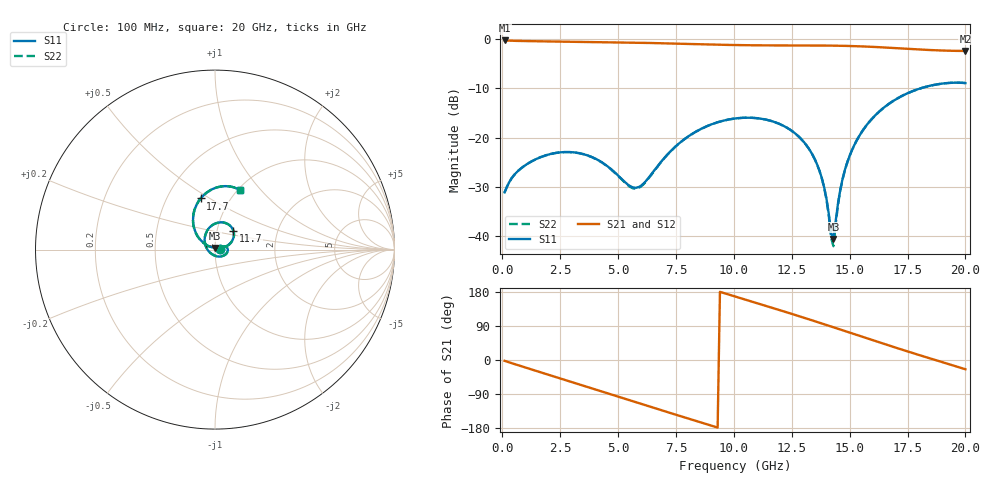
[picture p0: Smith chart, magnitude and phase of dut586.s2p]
! Touchstone file exported from HFSS 2026.1.0
!  File:  C:/ffzhzh/LocalFiles/Ansys_Project_Files/temp_train_TSV_RDL_586_1783119629_37876.aedt
!  Generated:  07:12:40 AM Jul  4, 2026
!  Design:  TSV_RDL
!  Project:  temp_train_TSV_RDL_586_1783119629_37876
! Variables:
!  h_bsmrdl = 3.4um
!  h_ox = 20um
!  h_rdl = 5um
!  h_sub = 98.86um
!  h_tmrdl = 4.84um
!  h_tsv = 98.86um
!  h_via = 3um
!  l_bsmrdl = 542.22um
!  l_sub = 5919.03um
!  l_tmrdl = 944.06um
!  m_sub = 200um
!  pitch = 25.31um
!  r_tsv = 9.15um
!  s_tmrdl = 10um
!  w_bsmrdl = 23.54um
!  w_sub = 500um
!  w_tmrdl = 15.17um
!  x_tsv_center1 = 951.645um
!  x_tsv_center2 = 1517.405um
!  x_tsv_center3 = 2476.635um
!  x_tsv_center4 = 3042.395um
!  x_tsv_center5 = 4001.625um
!  x_tsv_center6 = 4567.385um
# GHz S MA R 50.000000
! Terminal data exported
! Port[1] = TM_RDL1_1_T1
! Port[2] = TM_RDL5_1_T1
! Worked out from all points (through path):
!   200 points, 100 MHz to 20 GHz, reference 50 ohm
!   highest |S21| = -0.24 dB at 100 MHz (marker M1); lowest = -2.4 dB at 20 GHz (marker M2)
!   group delay of S21, straight-line fit = 53.3 ps
!   lowest |S11| = -40.6 dB at 14.3 GHz (marker M3), VSWR 1.02, Z = 49.9 + j0.923 ohm
!   |S11| at or under -10 dB: start of sweep to 18.05 GHz
!   |S22| runs from -42.1 to -8.8 dB; largest |S21 - S12| = 1.6e-14
!   S11 on the Smith chart (normalised r, x): 100 MHz: 1.06, +0.01; 11.7 GHz: 1.20, +0.25; 17.7 GHz: 0.73, +0.46; 20 GHz: 1.02, +0.78
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0.1  0.02778 11.8  0.973 -2.2  0.973 -2.2  0.02778 11.8
! Gamma 0 0 0 0
! Port Impedance 50 0 50 0
0.6  0.0439 22.4  0.9634 -12.1  0.9634 -12.1  0.04389 22.4
1.4  0.05954 17.7  0.9557 -27.6  0.9557 -27.6  0.05951 17.8
3.5  0.06799 -17.7  0.9414 -67.9  0.9414 -67.9  0.06783 -17.5
4.6  0.04995 -50.0  0.9336 -88.9  0.9336 -88.9  0.04962 -49.6
5.7  0.03094 -119.5  0.9243 -110.1  0.9243 -110.1  0.03029 -119.6
6.8  0.05465 160.4  0.9123 -131.1  0.9123 -131.1  0.05429 159.6
8.5  0.1198 108.8  0.8906 -163.3  0.8906 -163.3  0.1197 108.2
10.1  0.157 75.2  0.8735 166.8  0.8735 166.8  0.157 74.7
11.7  0.1455 45.1  0.8662 136.9  0.8662 136.9  0.1456 44.5
12.7  0.1077 27.4  0.8657 117.9  0.8657 117.9  0.1077 26.6
13.4  0.06674 17.0  0.8653 104.3  0.8653 104.3  0.06671 15.7
13.9  0.03127 16.3  0.8639 94.4  0.8639 94.4  0.03104 13.6
14.1  0.01671 28.3  0.863 90.4  0.863 90.4  0.01612 23.5
14.2  0.01075 50.5  0.8624 88.4  0.8624 88.4  0.009662 44.9
14.3  0.009324 97.2  0.8617 86.4  0.8617 86.4  0.007869 98.8
14.6  0.02983 148.5  0.8593 80.4  0.8593 80.4  0.02926 151.0
15  0.06535 150.3  0.8549 72.4  0.8549 72.4  0.06499 151.5
15.7  0.1307 140.7  0.8436 58.2  0.8436 58.2  0.1304 141.2
16.7  0.221 123.3  0.8208 38.3  0.8208 38.3  0.2207 123.5
17.7  0.2958 105.7  0.795 18.9  0.795 18.9  0.2956 105.8
20  0.3588 67.4  0.7611 -24.4  0.7611 -24.4  0.3586 67.4
